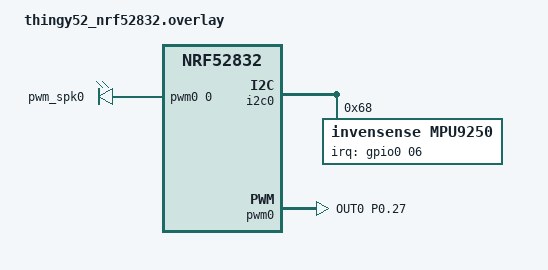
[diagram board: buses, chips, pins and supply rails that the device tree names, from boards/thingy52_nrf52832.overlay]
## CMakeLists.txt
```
#
# Copyright (c) 2021 Nordic Semiconductor
#
# SPDX-License-Identifier: LicenseRef-Nordic-4-Clause
#

cmake_minimum_required(VERSION 3.20.0)

set(CONF_FILE ${CMAKE_CURRENT_SOURCE_DIR}/prj.conf)
if (EXISTS ${CMAKE_CURRENT_SOURCE_DIR}/boards/${BOARD}.conf)
  set(CONF_FILE ${CONF_FILE} ${CMAKE_CURRENT_SOURCE_DIR}/boards/${BOARD}.conf)
endif()

set(mcuboot_CONF_FILE ${CMAKE_CURRENT_SOURCE_DIR}/child_image/mcuboot.conf)

# MCUboot bootloader is always built for the secure domain.
# It is necessary to trim the "_ns" suffix from the main image target if it is an NS target.
string(REGEX REPLACE "(_?ns)$" "" board_without_ns ${BOARD})

set(app_mcuboot_BOARD_CONF
    ${CMAKE_CURRENT_SOURCE_DIR}/child_image/mcuboot_${board_without_ns}.conf)
if(EXISTS ${app_mcuboot_BOARD_CONF})
  set(mcuboot_CONF_FILE ${mcuboot_CONF_FILE} ${app_mcuboot_BOARD_CONF})
endif()

set(app_mcuboot_DTC
    ${CMAKE_CURRENT_SOURCE_DIR}/child_image/mcuboot_${board_without_ns}.overlay)
if(EXISTS ${app_mcuboot_DTC})
  set(mcuboot_DTC_OVERLAY_FILE ${app_mcuboot_DTC})
endif()

set(FIND_MY_COMMON_CMAKE_DIR
    "$ENV{ZEPHYR_BASE}/../find-my/samples/common/cmake/"
    CACHE PATH "Common configuration directory")
include(${FIND_MY_COMMON_CMAKE_DIR}/boilerplate_setup.cmake NO_POLICY_SCOPE)

find_package(Zephyr REQUIRED HINTS $ENV{ZEPHYR_BASE})
project("Find My Thingy")

FILE(GLOB app_sources src/*.c)
target_sources(app PRIVATE ${app_sources})
target_sources_ifdef(CONFIG_BOARD_THINGY52_NRF52832 app PRIVATE
                                                        src/platform/motion_int.c
                                                        src/platform/speaker_pin_ctrl.c)
if(CONFIG_BOARD_THINGY53_NRF5340_CPUAPP OR CONFIG_BOARD_THINGY53_NRF5340_CPUAPP_NS)
  target_sources(app PRIVATE
                     src/platform/motion_poll.c
                     src/platform/speaker_none.c)
endif()
include(${FIND_MY_COMMON_CMAKE_DIR}/mcuboot_validation.cmake NO_POLICY_SCOPE)
```

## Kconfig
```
#
# Copyright (c) 2021 Nordic Semiconductor
#
# SPDX-License-Identifier: LicenseRef-Nordic-4-Clause
#

source "Kconfig.zephyr"

menu "Find My Thingy Application Settings"

config SPK_FREQ
	int "Speaker frequency [Hz]"
	default 4000
	help
	  Frequency of every sound generated by the speaker.

config PAIR_RESUME_SOUND_DUARTION
	int "Sound duration after pairing resume button press"
	default 100
	help
	  Duration of sound generated after pairing resume button press.

config SN_LOOKUP_SOUND_DURATION
	int "Sound duration after SN lookup button press"
	default 500
	help
	  Duration of sound generated after serial number lookup button press.

config FACTORY_RESET_SOUND_DURATION
	int "Sound duration after factory reset button press"
	default 2000
	help
	  Duration of sound generated after factory reset button press.

config MPU_VDD_PWR_CTRL_INIT_PRIORITY
	int "MPU_VDD power rail init priority"
	default 85
	range 0 SENSOR_INIT_PRIORITY
	help
	  Initialization priority for the MPU_VDD power rail. This powers the MPU9250 motion
	  detector. The value has to be smaller than SENSOR_INIT_PRIORITY.

config MOTION_POLL_THREAD_STACK_SIZE
	int "Stack size for motion detector poll thread"
	default 1024
	depends on BMI270
	help
	  Stack size for a polling thread used by the BMI270 gyroscope.

config MOTION_POLL_THREAD_PRIORITY
	int "Motion detector poll thread priority"
	default 7
	depends on BMI270
	help
	  Priority of a polling thread used by the BMI270 gyroscope.

endmenu
```

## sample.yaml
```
sample:
  name: Find My Thingy
  description: Find My Thingy application
tests:
  applications.thingy:
    build_only: true
    platform_allow: thingy52_nrf52832 thingy53_nrf5340_cpuapp thingy53_nrf5340_cpuapp_ns
    integration_platforms:
      - thingy52_nrf52832
      - thingy53_nrf5340_cpuapp
      - thingy53_nrf5340_cpuapp_ns
    tags: ci_build
```

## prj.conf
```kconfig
#
# Copyright (c) 2021 Nordic Semiconductor
#
# SPDX-License-Identifier: LicenseRef-Nordic-4-Clause
#

# FMN configuration
CONFIG_FMNA_CAPABILITY_PLAY_SOUND_ENABLED=y
CONFIG_FMNA_CAPABILITY_DETECT_MOTION_ENABLED=y
CONFIG_FMNA_CAPABILITY_BLE_SN_LOOKUP_ENABLED=y
CONFIG_FMNA_CAPABILITY_NFC_SN_LOOKUP_ENABLED=y
CONFIG_FMNA_CAPABILITY_FW_UPDATE_ENABLED=y
CONFIG_FMNA_BATTERY_TYPE_RECHARGEABLE=y
CONFIG_FMNA_MANUFACTURER_NAME="Nordic Semiconductor"
CONFIG_FMNA_CATEGORY=163

# Set FMN Firmware version
CONFIG_MCUBOOT_IMGTOOL_SIGN_VERSION="1.0.0+0"

# Enable DK library for handling LEDs and buttons
CONFIG_DK_LIBRARY=y

# Enable All necessary peripherals
CONFIG_REBOOT=y
CONFIG_PWM=y
CONFIG_ADC=y
CONFIG_SENSOR=y
```

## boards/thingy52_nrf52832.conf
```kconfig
#
# Copyright (c) 2022 Nordic Semiconductor
#
# SPDX-License-Identifier: LicenseRef-Nordic-4-Clause
#

# FMN configuration
CONFIG_FMNA_MODEL_NAME="Thingy52"

CONFIG_I2C=y
CONFIG_MPU9250=y
CONFIG_MPU9250_TRIGGER_GLOBAL_THREAD=y
CONFIG_MPU9250_MAGN_EN=n
```

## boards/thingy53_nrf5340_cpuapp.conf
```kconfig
#
# Copyright (c) 2022 Nordic Semiconductor
#
# SPDX-License-Identifier: LicenseRef-Nordic-4-Clause
#

# FMN configuration
CONFIG_FMNA_MODEL_NAME="Thingy53"

CONFIG_SPI=y
CONFIG_BMI270=y

# The USB CDC ACM serial backend is not used by the application.
CONFIG_BOARD_SERIAL_BACKEND_CDC_ACM=n
```

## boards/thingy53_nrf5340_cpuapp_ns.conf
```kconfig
#
# Copyright (c) 2023 Nordic Semiconductor
#
# SPDX-License-Identifier: LicenseRef-Nordic-4-Clause
#

# FMN configuration
CONFIG_FMNA_MODEL_NAME="Thingy53"

CONFIG_SPI=y
CONFIG_BMI270=y

# The USB CDC ACM serial backend is not used by the application.
CONFIG_BOARD_SERIAL_BACKEND_CDC_ACM=n
```

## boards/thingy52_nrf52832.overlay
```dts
/*
 * Copyright (c) 2022 Nordic Semiconductor ASA
 *
 * SPDX-License-Identifier: LicenseRef-Nordic-4-Clause
 */

/ {
	aliases {
		led1 = &led1;
		led2 = &led2;
		gyro-pwr = &mpu_pwr;
		pwm-spk = &pwm_spk0;
		spk-pwr = &spk_pwr;
		gyro = &mpu9250;
	};

	pwmspk {
		compatible = "pwm-leds";
		pwm_spk0: pwm-spk-0 {
			pwms = <&pwm0 0 PWM_MSEC(20) PWM_POLARITY_NORMAL>;
		};
	};
};

&i2c0 {
	mpu9250: mpu9250@68 {
		compatible = "invensense,mpu9250";
		reg = <0x68>;
		irq-gpios = <&gpio0 06 0>;
		gyro-sr-div = <10>;
		gyro-dlpf = <5>;
		gyro-fs = <250>;
		accel-fs = <2>;
		accel-dlpf="5.05";
		label = "MPU9250";
		status = "okay";
	};
};

&pwm0 {
	status = "okay";
	pinctrl-0 = <&pwm0_default>;
	pinctrl-1 = <&pwm0_sleep>;
	pinctrl-names = "default", "sleep";
};

&pinctrl {
	pwm0_default: pwm0_default {
		group1 {
			psels = <NRF_PSEL(PWM_OUT0, 0, 27)>;
		};
	};

	pwm0_sleep: pwm0_sleep {
		group1 {
			psels = <NRF_PSEL(PWM_OUT0, 0, 27)>;
			low-power-enable;
		};
	};
};
```

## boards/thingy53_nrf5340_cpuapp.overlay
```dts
/*
 * Copyright (c) 2022 Nordic Semiconductor ASA
 *
 * SPDX-License-Identifier: LicenseRef-Nordic-4-Clause
 */

/ {
	aliases {
		gyro-pwr = &sensor_pwr_ctrl;
		pwm-spk = &pwm_spk0;
		gyro = &bmi270;
	};

	pwmspk {
		compatible = "pwm-leds";
		pwm_spk0: pwm-spk-0 {
			pwms = <&pwm1 0 PWM_MSEC(20) PWM_POLARITY_NORMAL>;
		};
	};
};

&spi3 {
	bmi270: spi-dev-bmi270@1 {
		status = "okay";
	};
};
```

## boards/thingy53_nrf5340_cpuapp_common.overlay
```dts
/*
 * Copyright (c) 2023 Nordic Semiconductor ASA
 *
 * SPDX-License-Identifier: LicenseRef-Nordic-4-Clause
 */

/ {
	chosen {
		zephyr,console = &uart0;
		zephyr,shell-uart = &uart0;
		zephyr,uart-mcumgr = &uart0;
		zephyr,bt-mon-uart = &uart0;
		zephyr,bt-c2h-uart = &uart0;
	};

	aliases {
		gyro-pwr = &sensor_pwr_ctrl;
		pwm-spk = &pwm_spk0;
		gyro = &bmi270;
	};

	pwmspk {
		compatible = "pwm-leds";
		pwm_spk0: pwm-spk-0 {
			pwms = <&pwm1 0 PWM_MSEC(20) PWM_POLARITY_NORMAL>;
		};
	};
};

/* The UART0 is used for logs. */
&uart0 {
	status = "okay";
};

&cdc_acm_uart {
	status = "disabled";
};

&spi3 {
	bmi270: spi-dev-bmi270@1 {
		status = "okay";
	};
};
```

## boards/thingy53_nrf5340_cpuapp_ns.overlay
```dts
/*
 * Copyright (c) 2023 Nordic Semiconductor ASA
 *
 * SPDX-License-Identifier: LicenseRef-Nordic-4-Clause
 */

#include "thingy53_nrf5340_cpuapp_common.overlay"
```

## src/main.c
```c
/*
 * Copyright (c) 2021 Nordic Semiconductor ASA
 *
 * SPDX-License-Identifier: LicenseRef-Nordic-4-Clause
 */

#include <zephyr/kernel.h>
#include <zephyr/sys/reboot.h>
#include <hal/nrf_power.h>
#include <zephyr/drivers/sensor.h>
#include <zephyr/device.h>
#include <zephyr/devicetree.h>
#include <zephyr/logging/log.h>

LOG_MODULE_REGISTER(app, CONFIG_LOG_DEFAULT_LEVEL);

#include <zephyr/settings/settings.h>
#include <dk_buttons_and_leds.h>

#include <fmna.h>

#include "speaker.h"
#include "battery.h"
#include "motion.h"


#define FMNA_BT_ID			1
#define FMNA_PEER_SOUND_DURATION	K_SECONDS(5)
#define FMNA_UT_SOUND_DURATION		K_MSEC(250)

#define FMNA_INIT_LED			DK_LED1
#define FMNA_BATTERY_REQUEST_LED	DK_LED2
#define FMNA_MOTION_DETECTION_LED	DK_LED3

#define FMNA_FACTORY_SETTINGS_RESET_BUTTON		DK_BTN1_MSK
#define FMNA_ADV_RESUME_SN_LOOKUP_BUTTON		DK_BTN1_MSK
#define FMNA_SN_LOOKUP_BUTTON_MIN_HOLD_TIME_MS		2000
#define FMNA_FACTORY_RESET_BUTTON_MIN_HOLD_TIME_MS	5000

enum signal_request {
	SIGNAL_SN_LOOKUP,
	SIGNAL_PAIR_RESUME,
	SIGNAL_FACTORY_RESET
};

static void sound_timeout_work_handle(struct k_work *item);
static K_WORK_DELAYABLE_DEFINE(sound_timeout_work, sound_timeout_work_handle);

static bool pairing_mode_exit;


static void sound_stop_indicate(void)
{
	LOG_INF("Stopping the sound from being played");

	speaker_off();
}

static void sound_timeout_work_handle(struct k_work *item)
{
	int err;

	err = fmna_sound_completed_indicate();
	if (err) {
		LOG_ERR("fmna_sound_completed_indicate failed (err %d)", err);
		return;
	}

	LOG_INF("Sound playing timed out");

	sound_stop_indicate();
}

static void sound_start(enum fmna_sound_trigger sound_trigger)
{
	k_timeout_t sound_timeout;

	if (sound_trigger == FMNA_SOUND_TRIGGER_UT_DETECTION) {
		LOG_INF("Play sound action triggered by the Unwanted Tracking "
		       "Detection");

		sound_timeout = FMNA_UT_SOUND_DURATION;
	} else {
		LOG_INF("Received a request from FMN to start playing sound "
		       "from the connected peer");

		sound_timeout = FMNA_PEER_SOUND_DURATION;
	}

	k_work_reschedule(&sound_timeout_work, sound_timeout);

	speaker_on();

	LOG_INF("Starting to play sound...");
}

static void sound_stop(void)
{
	LOG_INF("Received a request from FMN to stop playing sound");

	k_work_cancel_delayable(&sound_timeout_work);

	sound_stop_indicate();
}

static const struct fmna_sound_cb sound_callbacks = {
	.sound_start = sound_start,
	.sound_stop = sound_stop,
};

static void motion_detection_start(void)
{
	LOG_INF("Starting motion detection...");
	dk_set_led(FMNA_MOTION_DETECTION_LED, 1);

	motion_start();
}

static bool motion_detection_period_expired(void)
{
	bool is_detected;

	is_detected = motion_check();

	if (is_detected) {
		LOG_INF("Motion detected in the last period");
	} else {
		LOG_INF("No motion detected in the last period");
	}

	motion_reset();

	return is_detected;
}

static void motion_detection_stop(void)
{
	LOG_INF("Stopping motion detection...");
	dk_set_led(FMNA_MOTION_DETECTION_LED, 0);

	motion_stop();
}

static const struct fmna_motion_detection_cb motion_detection_callbacks = {
	.motion_detection_start = motion_detection_start,
	.motion_detection_period_expired = motion_detection_period_expired,
	.motion_detection_stop = motion_detection_stop,
};

static void battery_level_request(void)
{
	uint8_t charge;
	int err;

	dk_set_led(FMNA_BATTERY_REQUEST_LED, 1);

	err = battery_measure(&charge);
	if (!err) {
		fmna_battery_level_set(charge);
	} else {
		LOG_ERR("Battery measurment failed (err %d)", err);
	}

	dk_set_led(FMNA_BATTERY_REQUEST_LED, 0);
}

static void pairing_mode_exited(void)
{
	LOG_INF("Exited the FMN pairing mode");

	pairing_mode_exit = true;
}

static const struct fmna_enable_cb enable_callbacks = {
	.battery_level_request = battery_level_request,
	.pairing_mode_exited = pairing_mode_exited,
};

static int fmna_id_create(uint8_t id)
{
	int ret;
	bt_addr_le_t addrs[CONFIG_BT_ID_MAX];
	size_t count = ARRAY_SIZE(addrs);

	bt_id_get(addrs, &count);
	if (id < count) {
		return 0;
	}

	do {
		ret = bt_id_create(NULL, NULL);
		if (ret < 0) {
			return ret;
		}
	} while (ret != id);

	return 0;
}

static bool factory_settings_restore_check(void)
{
	uint8_t reg;

	/* Check GPREGRET for SYS_REBOOT_COLD */
	reg = nrf_power_gpregret_get(NRF_POWER);

	if (reg == SYS_REBOOT_COLD) {
		/* Restore GPREGRET to SYS_REBOOT_WARM = 0 */
		nrf_power_gpregret_set(NRF_POWER, SYS_REBOOT_WARM);

		return true;
	}

	return false;
}

static int fmna_initialize(void)
{
	int err;
	uint8_t battery_level;
	struct fmna_enable_param enable_param = {0};

	err = fmna_sound_cb_register(&sound_callbacks);
	if (err) {
		LOG_ERR("fmna_sound_cb_register failed (err %d)", err);
		return err;
	}

	err = fmna_motion_detection_cb_register(&motion_detection_callbacks);
	if (err) {
		LOG_ERR("fmna_motion_detection_cb_register failed (err %d)", err);
		return err;
	}

	err = fmna_id_create(FMNA_BT_ID);
	if (err) {
		LOG_ERR("fmna_id_create failed (err %d)", err);
		return err;
	}

	err = battery_measure(&battery_level);
	if (err) {
		LOG_ERR("Failed to measure battery voltage (err %d)", err);
		return err;
	}

	enable_param.bt_id = FMNA_BT_ID;
	enable_param.init_battery_level = battery_level;
	enable_param.use_default_factory_settings = factory_settings_restore_check();

	err = fmna_enable(&enable_param, &enable_callbacks);
	if (err) {
		LOG_ERR("fmna_enable failed (err %d)", err);
		return err;
	}

	LOG_INF("FMNA initialized");

	return 0;
}

static int ble_stack_initialize(void)
{
	int err;

	err = bt_enable(NULL);
	if (err) {
		LOG_ERR("Bluetooth init failed (err %d)", err);
		return err;
	}

	err = settings_load();
	if (err) {
		LOG_ERR("Settings loading failed (err %d)", err);
		return err;
	}

	LOG_INF("Bluetooth initialized");

	return 0;
}

static int user_request_signal(enum signal_request request)
{
	int err;
	int32_t ms;

	err = speaker_on();
	if (err) {
		return err;
	}

	switch (request) {
	case SIGNAL_PAIR_RESUME:
		ms = CONFIG_PAIR_RESUME_SOUND_DUARTION;
		LOG_INF("Signal request for pairing resume");
		break;
	case SIGNAL_SN_LOOKUP:
		ms = CONFIG_SN_LOOKUP_SOUND_DURATION;
		LOG_INF("Signal request for serial number lookup");
		break;
	case SIGNAL_FACTORY_RESET:
		ms = CONFIG_FACTORY_RESET_SOUND_DURATION;
		LOG_INF("Signal request for factory reset");
		break;
	default:
		LOG_ERR("Unexpected signal request: %u", request);
		ms = 0;
		break;
	}

	err = k_msleep(ms);
	if (err) {
		return err;
	}

	return speaker_off();
}

static void button_changed(uint32_t button_state, uint32_t has_changed)
{
	int err;
	static int64_t prev_uptime;
	int64_t hold_time;
	uint32_t buttons = button_state & has_changed;

	if (buttons & FMNA_ADV_RESUME_SN_LOOKUP_BUTTON) {
		prev_uptime = k_uptime_get();
	} else {
		hold_time = (k_uptime_get() - prev_uptime);

		if ((hold_time > FMNA_SN_LOOKUP_BUTTON_MIN_HOLD_TIME_MS) &&
		    (hold_time < FMNA_FACTORY_RESET_BUTTON_MIN_HOLD_TIME_MS)) {
			err = fmna_serial_number_lookup_enable();
			if (err) {
				LOG_ERR("Cannot enable FMN Serial Number lookup (err: %d)", err);
			} else {
				LOG_INF("FMN Serial Number lookup enabled");
				user_request_signal(SIGNAL_SN_LOOKUP);
			}
		} else if (hold_time < FMNA_FACTORY_RESET_BUTTON_MIN_HOLD_TIME_MS) {
			err = fmna_pairing_mode_enter();
			if (err) {
				LOG_ERR("Cannot resume the FMN activity (err: %d)", err);
			} else {
				LOG_INF("FMN pairing mode resumed");
				user_request_signal(SIGNAL_PAIR_RESUME);
			}
		} else {
			LOG_INF("Resetting to factory setting");
			user_request_signal(SIGNAL_FACTORY_RESET);
			/* Sets GPREGRET to SYS_REBOOT_COLD = 1 */
			sys_reboot(SYS_REBOOT_COLD);
		}
	}

}

static int dk_library_initialize(void)
{
	int err;

	err = dk_leds_init();
	if (err) {
		LOG_ERR("LEDs init failed (err %d)", err);
		return err;
	}

	err = dk_buttons_init(button_changed);
	if (err) {
		LOG_ERR("Buttons init failed (err: %d)", err);
		return err;
	}

	LOG_INF("DK library initialized");

	return 0;
}

void main(void)
{
	int err;

	err = dk_library_initialize();
	if (err) {
		LOG_ERR("DK library init failed (err %d)", err);
		return;
	}

	dk_set_led(FMNA_INIT_LED, 1);

	err = motion_init();
	if (err) {
		LOG_ERR("Motion detection init failed (err %d)", err);
		return;
	}

	err = battery_init();
	if (err) {
		LOG_ERR("Battery level measurment init failed (err %d)", err);
		return;
	}

	err = speaker_init();
	if (err) {
		LOG_ERR("Speaker init failed (err %d)", err);
		return;
	}

	err = ble_stack_initialize();
	if (err) {
		LOG_ERR("BLE stack init failed (err %d)", err);
		return;
	}

	err = fmna_initialize();
	if (err) {
		LOG_ERR("FMNA init failed (err %d)", err);
		return;
	}

	dk_set_led(FMNA_INIT_LED, 0);
}
```

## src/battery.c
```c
/*
 * Copyright (c) 2021 Nordic Semiconductor ASA
 *
 * SPDX-License-Identifier: LicenseRef-Nordic-4-Clause
 */

#include "battery.h"

#include <zephyr/kernel.h>
#include <zephyr/device.h>
#include <zephyr/devicetree.h>
#include <zephyr/drivers/gpio.h>
#include <zephyr/drivers/adc.h>
#include <zephyr/logging/log.h>

LOG_MODULE_DECLARE(app);

#define VBATT			DT_PATH(vbatt)
#define BATTERY_ADC_GAIN	ADC_GAIN_1


static const struct gpio_dt_spec bat_mon_en = GPIO_DT_SPEC_GET(VBATT, power_gpios);
static const struct device *adc;
static struct adc_sequence adc_seq;
static struct adc_channel_cfg adc_cfg;
static int16_t adc_raw_data;


int battery_init(void)
{
	int err;

	adc = DEVICE_DT_GET(DT_IO_CHANNELS_CTLR(VBATT));
	if (!device_is_ready(adc)) {
		LOG_ERR("ADC device %s is not ready", adc->name);
		return -ENOENT;
	}

	if (!device_is_ready(bat_mon_en.port)) {
		LOG_ERR("BAT_MON_EN enable is not ready");
		return -EIO;
	}

	err = gpio_pin_configure_dt(&bat_mon_en, GPIO_OUTPUT_INACTIVE);
	if (err) {
		LOG_ERR("Can't configure BAT_MON_EN pin (err %d)", err);
		return err;
	}

	adc_seq = (struct adc_sequence){
		.channels = BIT(0),
		.buffer = &adc_raw_data,
		.buffer_size = sizeof(adc_raw_data),
		.oversampling = 4,
		.calibrate = true,
		.resolution = 14
	};

	adc_cfg = (struct adc_channel_cfg){
		.gain = BATTERY_ADC_GAIN,
		.reference = ADC_REF_INTERNAL,
		.acquisition_time = ADC_ACQ_TIME(ADC_ACQ_TIME_MICROSECONDS, 40),
		.input_positive = SAADC_CH_PSELP_PSELP_AnalogInput0 + DT_IO_CHANNELS_INPUT(VBATT)
	};

	return adc_channel_setup(adc, &adc_cfg);
}

static int battery_meas_prep(void)
{
	int err;

	err = gpio_pin_set_dt(&bat_mon_en, 1);
	if (err) {
		LOG_ERR("Can't turn on BAT_MON_EN pin (err %d)", err);
		return err;
	}

	/* Wait for voltage to stabilize */
	k_msleep(1);

	return err;
}

static uint8_t volatge_to_lipo_soc(int32_t val)
{
	/*
	 * soc[%] = ((val - v_min)/(v_max - v_min)) * 100%
	 * soc[%] = ((val - 2500mV)/(4200mV - 2500mV)) * 100%
	 * soc[%] = (val - 2500mV)/(1700mV / 100) %
	 * soc[%] = (val - 2500mV)/17 %
	 */
	__ASSERT(val >= 2500, "Invalid value of battery voltage, got %i mV", val);

	val -= 2500;
	val /= 17;

	return (uint8_t) val;
}

int battery_measure(uint8_t *charge)
{
	int err;
	int32_t val_mv;

	err = battery_meas_prep();
	if (err) {
		return err;
	}

	err = adc_read(adc, &adc_seq);
	if (err) {
		LOG_ERR("Can't read ADC (err %d)", err);
		return err;
	}

	val_mv = adc_raw_data;
	adc_raw_to_millivolts(adc_ref_internal(adc),
			      adc_cfg.gain,
			      adc_seq.resolution,
			      &val_mv);

	val_mv *= DT_PROP(VBATT, full_ohms);
	val_mv /= DT_PROP(VBATT, output_ohms);

	*charge = volatge_to_lipo_soc(val_mv);

	return gpio_pin_set_dt(&bat_mon_en, 0);
}
```

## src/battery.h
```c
/*
 * Copyright (c) 2021 Nordic Semiconductor ASA
 *
 * SPDX-License-Identifier: LicenseRef-Nordic-4-Clause
 */

#ifndef APP_BATTERY_H_
#define APP_BATTERY_H_


#include <stdint.h>

/** @brief Initialize battery level sensing peripherals.
 *
 *  This function initializes the ADC and the battery monitor enable GPIO pin.
 *
 *  @return Zero on success or negative error code otherwise
 */
int battery_init(void);

/** @brief Measure the battery level.
 *
 *  This function performs measurment of the battery level.
 *  After the measurment the battery monitor enable pin is turned off.
 *
 *  @param charge State of charging expressed as percentage.
 *
 *  @return Zero on success or negative error code otherwise
 */
int battery_measure(uint8_t *charge);

#endif
```

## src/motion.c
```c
/*
 * Copyright (c) 2022 Nordic Semiconductor ASA
 *
 * SPDX-License-Identifier: LicenseRef-Nordic-4-Clause
 */

#include <zephyr/kernel.h>
#include <zephyr/drivers/sensor.h>
#include <zephyr/device.h>
#include <zephyr/drivers/gpio.h>
#include <zephyr/devicetree.h>
#include <zephyr/logging/log.h>

LOG_MODULE_DECLARE(app);

#include "motion.h"
#include "platform/motion_platform.h"

#define GYRO_TH		0.43625

#define GYRO_CALC_ROT(data)	((data) / (MOTION_PLATFORM_SAMPLES_PER_SEC))

#define GYRO_NODE	DT_ALIAS(gyro)
#define GYRO_PWR_NODE	DT_ALIAS(gyro_pwr)

struct gyro_data {
	double data_x;
	double data_z;
	size_t count;
};

static bool motion_detection_enabled;
static bool motion_reset_en;
static struct gyro_data *motion_data;

static void sensor_drdy(const struct device *dev,
			const struct sensor_trigger *trig)
{
	struct sensor_value val;
	static struct gyro_data gyro[2];
	static size_t cur_data;

	sensor_sample_fetch(dev);

	if (motion_reset_en) {
		cur_data = 0;
		motion_data = &gyro[cur_data];
		motion_data->data_x = 0;
		motion_data->data_z = 0;
		motion_data->count = 0;
		motion_reset_en = false;
	}

	if (motion_detection_enabled) {
		gyro[cur_data].data_x = motion_data->data_x;
		gyro[cur_data].data_z = motion_data->data_z;
		gyro[cur_data].count = motion_data->count;

		sensor_channel_get(dev, SENSOR_CHAN_GYRO_X, &val);
		gyro[cur_data].data_x += sensor_value_to_double(&val);
		sensor_channel_get(dev, SENSOR_CHAN_GYRO_Z, &val);
		gyro[cur_data].data_z += sensor_value_to_double(&val);
		gyro[cur_data].count++;

		motion_data = &gyro[cur_data];

		cur_data = ((cur_data + 1) % 2);
	}
}

void motion_reset(void)
{
	motion_reset_en = true;
}

void motion_stop(void)
{
	motion_detection_enabled = false;
	motion_reset();
}

void motion_start(void)
{
	motion_detection_enabled = true;
	motion_reset();
}

bool motion_check(void)
{
	double gyro_delta;

	__ASSERT(motion_data->count != 0, "Count number has to be greater than zero");

	gyro_delta = GYRO_CALC_ROT(motion_data->data_z);

	if ((gyro_delta > GYRO_TH) || (gyro_delta < -GYRO_TH)) {
		return true;
	}

	gyro_delta = GYRO_CALC_ROT(motion_data->data_x);

	if ((gyro_delta > GYRO_TH) || (gyro_delta < -GYRO_TH)) {
		return true;
	}

	return false;
}

int motion_init(void)
{
	const struct device *sensor;
	int err;

	sensor = DEVICE_DT_GET(GYRO_NODE);
	if (!sensor) {
		LOG_ERR("No sensor device found");
		return -EIO;
	}

	if (!device_is_ready(sensor)) {
		LOG_ERR("Device %s is not ready.", sensor->name);
		return -EIO;
	}

	err = motion_platform_init(sensor);
	if (err) {
		LOG_ERR("Initializing platform dependent motion detection failed (err %d)", err);
		return err;
	}

	motion_stop();

	err = motion_platfom_enable_drdy(sensor_drdy);
	if (err) {
		LOG_ERR("Initializing data ready mechanism failed (err %d)", err);
	}

	return err;
}

static int gyro_pwr_init(void)
{
	int err;
	const struct gpio_dt_spec pwr = GPIO_DT_SPEC_GET(GYRO_PWR_NODE, enable_gpios);

	if (!device_is_ready(pwr.port)) {
		LOG_ERR("GYRO_PWR is not ready");
		return -EIO;
	}

	err = gpio_pin_configure_dt(&pwr, GPIO_OUTPUT_ACTIVE);
	if (err) {
		LOG_ERR("Error while configuring GYRO_PWR (err %d)", err);
		return err;
	}

	k_msleep(50);

	return 0;
}

SYS_INIT(gyro_pwr_init, POST_KERNEL, 80);
```

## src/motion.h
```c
/*
 * Copyright (c) 2021 Nordic Semiconductor ASA
 *
 * SPDX-License-Identifier: LicenseRef-Nordic-4-Clause
 */

#ifndef APP_MOTION_H_
#define APP_MOTION_H_

/** @brief Reset motion detection.
 *
 *  This function schedules a reset of the motion detection state.
 */
void motion_reset(void);

/** @brief Stop motion detection.
 *
 *  This function stops the motion detection and resets the motion detection state.
 */
void motion_stop(void);

/** @brief Start motion detection.
 *
 *  This function starts the motion detection and resets the motion detection state.
 */
void motion_start(void);

/** @brief Check if motion was detected.
 *
 *  This checks if motion was detected during detection period.
 *
 *  @return True if motion was detected, false otherwise.
 */
bool motion_check(void);

/** @brief Initialize motion detection.
 *
 *  This initializes the motion detection peripherals.
 *
 *  @return Zero on success or negative error code otherwise
 */
int motion_init(void);

#endif
```

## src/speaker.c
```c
/*
 * Copyright (c) 2022 Nordic Semiconductor ASA
 *
 * SPDX-License-Identifier: LicenseRef-Nordic-4-Clause
 */

#include "speaker.h"
#include "platform/speaker_platform.h"

#include <zephyr/device.h>
#include <zephyr/devicetree.h>
#include <zephyr/drivers/pwm.h>
#include <zephyr/drivers/gpio.h>
#include <zephyr/logging/log.h>

LOG_MODULE_DECLARE(app);

#define SPK_NODE	DT_ALIAS(pwm_spk)

static const struct pwm_dt_spec spk_pwm = PWM_DT_SPEC_GET(SPK_NODE);
static uint32_t spk_per_ns;

int speaker_init(void)
{
	int err;

	if (!device_is_ready(spk_pwm.dev)) {
		LOG_ERR("PWM_SPK is not ready");
		return -EIO;
	}

	err = speaker_platform_init();
	if (err) {
		LOG_ERR("Can't init speaker platform (err %d)", err);
		return err;
	}

	spk_per_ns = PWM_HZ(CONFIG_SPK_FREQ);
	err = pwm_set_dt(&spk_pwm, spk_per_ns, 0);
	if (err) {
		LOG_ERR("Can't initiate PWM (err %d)", err);
		return err;
	}

	return 0;
}

int speaker_on(void)
{
	int err;

	err = pwm_set_dt(&spk_pwm, spk_per_ns, (spk_per_ns / 2UL));
	if (err) {
		LOG_ERR("Can't set speaker frequency (err %d)", err);
		return err;
	}

	err = speaker_platfom_enable();
	if (err) {
		LOG_ERR("Can't turn on speaker (err %d)", err);
		return err;
	}

	return err;
}

int speaker_off(void)
{
	int err;

	err = pwm_set_dt(&spk_pwm, spk_per_ns, 0);
	if (err) {
		LOG_ERR("Can't set speaker frequency (err %d)", err);
		return err;
	}

	err = speaker_platfom_disable();
	if (err) {
		LOG_ERR("Can't turn off speaker (err %d)", err);
		return err;
	}

	return err;
}
```

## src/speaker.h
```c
/*
 * Copyright (c) 2021 Nordic Semiconductor ASA
 *
 * SPDX-License-Identifier: LicenseRef-Nordic-4-Clause
 */

#ifndef APP_SPEAKER_H_
#define APP_SPEAKER_H_

#include <stdint.h>


/** @brief Initialize the speaker peripheral.
 *
 *  This function initializes speaker power control pin and speaker pwm output.
 *  The pwm is initialized in continuous output mode at 50% duty cycle.
 *
 *  @return Zero on success or negative error code otherwise
 */
int speaker_init(void);

/** @brief Turn on speaker.
 *
 *  This function turns on speaker by turning on the speaker power control pin.
 *
 *  @return Zero on success or negative error code otherwise
 */
int speaker_on(void);

/** @brief Turn off speaker.
 *
 *  This function turns off speaker by turning off the speaker power control pin.
 *
 *  @return Zero on success or negative error code otherwise
 */
int speaker_off(void);


#endif
```
